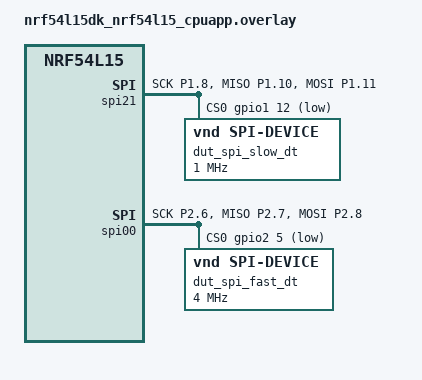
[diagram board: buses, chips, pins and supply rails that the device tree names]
/*
 * Copyright (c) 2026 Nordic Semiconductor ASA
 *
 * SPDX-License-Identifier: LicenseRef-Nordic-5-Clause
 */

&pinctrl {
	spi21_default: spi21_default {
		group1 {
			psels = <NRF_PSEL(SPIM_SCK, 1, 8)>,
				<NRF_PSEL(SPIM_MISO, 1, 10)>,
				<NRF_PSEL(SPIM_MOSI, 1, 11)>;
		};
	};

	spi21_sleep: spi21_sleep {
		group1 {
			psels = <NRF_PSEL(SPIM_SCK, 1, 8)>,
				<NRF_PSEL(SPIM_MISO, 1, 10)>,
				<NRF_PSEL(SPIM_MOSI, 1, 11)>;
			low-power-enable;
		};
	};

	spi00_default: spi00_default {
		group1 {
			psels = <NRF_PSEL(SPIM_SCK, 2, 6)>,
				<NRF_PSEL(SPIM_MISO, 2, 7)>,
				<NRF_PSEL(SPIM_MOSI, 2, 8)>;
		};
	};

	spi00_sleep: spi00_sleep {
		group1 {
			psels = <NRF_PSEL(SPIM_SCK, 2, 6)>,
				<NRF_PSEL(SPIM_MISO, 2, 7)>,
				<NRF_PSEL(SPIM_MOSI, 2, 8)>;
			low-power-enable;
		};
	};
};

dut_spi_slow: &spi21 {
	compatible = "nordic,nrf-spim";
	status = "okay";
	pinctrl-0 = <&spi21_default>;
	pinctrl-1 = <&spi21_sleep>;
	pinctrl-names = "default", "sleep";
	overrun-character = <0x00>;
	zephyr,pm-device-runtime-auto;
	cs-gpios = <&gpio1 12 GPIO_ACTIVE_LOW>;
	rx-delay = <1>;

	dut_spi_slow_dt: test-spi-dev@0 {
		compatible = "vnd,spi-device";
		reg = <0>;
		spi-max-frequency = <DT_FREQ_M(1)>;
	};
};

dut_spi_fast: &spi00 {
	compatible = "nordic,nrf-spim";
	status = "okay";
	pinctrl-0 = <&spi00_default>;
	pinctrl-1 = <&spi00_sleep>;
	pinctrl-names = "default", "sleep";
	overrun-character = <0x00>;
	zephyr,pm-device-runtime-auto;
	cs-gpios = <&gpio2 5 GPIO_ACTIVE_LOW>;

	dut_spi_fast_dt: test-spi-dev@0 {
		compatible = "vnd,spi-device";
		reg = <0>;
		spi-max-frequency = <DT_FREQ_M(4)>;
	};
};

&gpio2 {
	status = "okay";
};

&gpio1 {
	status = "okay";
};
